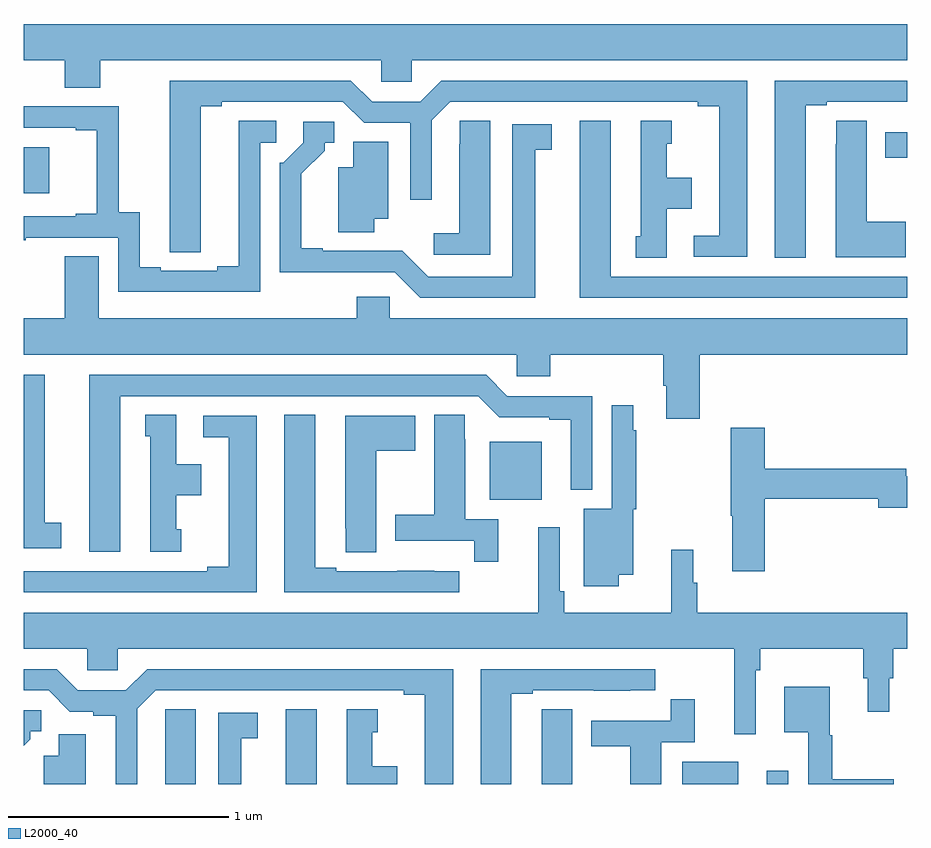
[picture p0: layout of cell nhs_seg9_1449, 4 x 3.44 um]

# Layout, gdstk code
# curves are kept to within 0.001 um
import gdstk
lib = gdstk.Library(unit=1e-6, precision=1e-09)
def R(c, l, rs):  # rectangles x0, y0, x1, y1
    for r in rs: c.add(gdstk.rectangle(r[:2], r[2:], *l))
def P(c, l, *ps):  # polygons
    for p in ps: c.add(gdstk.Polygon(p, *l))
L2000_40 = (2000, 40)

nhs_seg9_1449 = lib.new_cell('nhs_seg9_1449')
R(nhs_seg9_1449, L2000_40, [(194.186,1170.5,194.326,1170.838), (195.98,1170.5,196.234,1170.601), (196.364,1170.5,196.461,1170.559), (195.11,1171.787,195.346,1172.05), (193,1173.173,193.117,1173.382), (196.901,1173.334,197,1173.45)])
P(nhs_seg9_1449, L2000_40, [(193.347,1173.776),(194.619,1173.776),(194.619,1173.678),(194.757,1173.678),(194.757,1173.776),(197,1173.776),(197,1173.94),(193,1173.94),(193,1173.776),(193.187,1173.776),(193.187,1173.652),(193.347,1173.652)],
  [(196.276,1173.684),(194.891,1173.684),(194.795,1173.588),(194.577,1173.588),(194.481,1173.684),(193.661,1173.684),(193.662,1172.908),(193.801,1172.908),(193.801,1173.568),(193.897,1173.568),(193.897,1173.588),(194.445,1173.588),(194.541,1173.492),(194.751,1173.492),(194.751,1173.144),(194.847,1173.144),(194.847,1173.504),(194.931,1173.588),(196.052,1173.588),(196.052,1173.568),(196.148,1173.568),(196.148,1172.982),(196.032,1172.982),(196.032,1172.886),(196.276,1172.886)],
  [(196.54,1173.573),(196.636,1173.573),(196.636,1173.588),(196.912,1173.588),(196.912,1173.587),(197,1173.587),(197,1173.684),(196.4,1173.684),(196.4,1172.881),(196.54,1172.881)],
  [(194.07,1173.402),(194.143,1173.402),(194.143,1173.503),(193.973,1173.503),(193.973,1172.843),(193.877,1172.843),(193.877,1172.823),(193.621,1172.823),(193.621,1172.838),(193.525,1172.838),(193.525,1173.089),(193.431,1173.089),(193.431,1173.567),(193,1173.567),(193,1173.471),(193.235,1173.471),(193.235,1173.459),(193.331,1173.459),(193.331,1173.082),(193.235,1173.082),(193.235,1173.069),(193,1173.069),(193,1172.961),(193.009,1172.961),(193.009,1172.973),(193.428,1172.973),(193.428,1172.727),(194.07,1172.727)],
  [(196.993,1173.045),(196.816,1173.045),(196.816,1173.503),(196.677,1173.503),(196.677,1173.395),(196.676,1173.395),(196.676,1172.885),(196.993,1172.885)],
  [(195.112,1173.503),(194.973,1173.503),(194.973,1173.395),(194.972,1173.395),(194.972,1172.992),(194.856,1172.992),(194.856,1172.895),(195.112,1172.895)],
  [(197,1172.796),(195.658,1172.796),(195.658,1173.502),(195.518,1173.502),(195.518,1172.7),(197,1172.7)],
  [(195.91,1173.104),(196.024,1173.104),(196.024,1173.244),(195.91,1173.244),(195.91,1173.399),(195.934,1173.399),(195.934,1173.502),(195.794,1173.502),(195.794,1172.979),(195.77,1172.979),(195.77,1172.881),(195.91,1172.881)],
  [(195.316,1173.37),(195.391,1173.37),(195.391,1173.486),(195.212,1173.486),(195.212,1172.796),(194.832,1172.796),(194.714,1172.914),(194.353,1172.913),(194.353,1172.926),(194.257,1172.926),(194.257,1173.262),(194.362,1173.367),(194.362,1173.402),(194.407,1173.402),(194.407,1173.498),(194.265,1173.498),(194.265,1173.402),(194.175,1173.312),(194.16,1173.312),(194.16,1172.816),(194.679,1172.817),(194.796,1172.7),(195.316,1172.7)],
  [(194.587,1173.059),(194.65,1173.059),(194.65,1173.407),(194.492,1173.407),(194.492,1173.292),(194.423,1173.292),(194.423,1172.998),(194.587,1172.998)],
  [(196.061,1172.444),(197,1172.444),(197,1172.608),(194.658,1172.608),(194.658,1172.706),(194.507,1172.706),(194.507,1172.608),(193.339,1172.608),(193.339,1172.888),(193.187,1172.888),(193.187,1172.608),(193,1172.608),(193,1172.444),(195.231,1172.444),(195.231,1172.346),(195.383,1172.346),(195.383,1172.444),(195.896,1172.444),(195.896,1172.302),(195.908,1172.302),(195.908,1172.154),(196.061,1172.154)],
  [(193.438,1172.256),(195.057,1172.256),(195.153,1172.16),(195.38,1172.16),(195.38,1172.148),(195.476,1172.148),(195.476,1171.832),(195.573,1171.832),(195.573,1172.256),(195.189,1172.256),(195.093,1172.352),(193.298,1172.352),(193.298,1171.551),(193.438,1171.551)],
  [(193.171,1171.682),(193.096,1171.682),(193.096,1172.352),(193,1172.352),(193,1171.566),(193.171,1171.566)],
  [(195.694,1171.448),(195.76,1171.448),(195.76,1171.743),(195.772,1171.743),(195.772,1172.102),(195.76,1172.102),(195.76,1172.215),(195.663,1172.215),(195.663,1171.747),(195.536,1171.747),(195.536,1171.395),(195.694,1171.395)],
  [(195.149,1171.698),(194.998,1171.698),(194.998,1172.06),(194.997,1172.06),(194.997,1172.171),(194.858,1172.171),(194.858,1171.719),(194.681,1171.719),(194.681,1171.602),(195.04,1171.602),(195.04,1171.506),(195.149,1171.506)],
  [(194.971,1171.464),(194.858,1171.464),(194.858,1171.465),(194.692,1171.465),(194.692,1171.464),(194.416,1171.464),(194.416,1171.479),(194.32,1171.479),(194.32,1172.171),(194.18,1172.171),(194.18,1171.368),(194.971,1171.368)],
  [(193.714,1171.653),(193.69,1171.653),(193.69,1171.808),(193.804,1171.808),(193.804,1171.948),(193.69,1171.948),(193.69,1172.171),(193.55,1172.171),(193.55,1172.073),(193.574,1172.073),(193.574,1171.551),(193.714,1171.551)],
  [(194.596,1172.008),(194.773,1172.008),(194.773,1172.167),(194.456,1172.167),(194.456,1171.657),(194.457,1171.657),(194.457,1171.549),(194.596,1171.549)],
  [(194.056,1172.166),(193.812,1172.166),(193.812,1172.07),(193.928,1172.07),(193.928,1171.484),(193.832,1171.484),(193.832,1171.464),(193,1171.464),(193,1171.368),(194.056,1171.368)],
  [(196.355,1171.792),(196.868,1171.792),(196.868,1171.75),(197,1171.75),(197,1171.892),(196.996,1171.892),(196.996,1171.928),(196.355,1171.928),(196.355,1172.113),(196.201,1172.113),(196.201,1171.715),(196.208,1171.715),(196.208,1171.464),(196.355,1171.464)],
  [(196.314,1171.016),(196.334,1171.016),(196.334,1171.112),(196.801,1171.112),(196.801,1170.978),(196.82,1170.978),(196.82,1170.828),(196.918,1170.828),(196.918,1170.978),(196.937,1170.978),(196.937,1171.112),(197,1171.112),(197,1171.276),(196.049,1171.276),(196.049,1171.41),(196.03,1171.41),(196.03,1171.561),(195.931,1171.561),(195.931,1171.276),(195.446,1171.276),(195.446,1171.372),(195.426,1171.372),(195.426,1171.663),(195.329,1171.663),(195.329,1171.276),(193,1171.276),(193,1171.112),(193.287,1171.112),(193.287,1171.014),(193.425,1171.014),(193.425,1171.112),(196.217,1171.112),(196.217,1170.726),(196.314,1170.726)],
  [(195.208,1170.909),(195.304,1170.909),(195.304,1170.924),(195.58,1170.924),(195.58,1170.923),(195.746,1170.923),(195.746,1170.924),(195.859,1170.924),(195.859,1171.02),(195.068,1171.02),(195.068,1170.5),(195.208,1170.5)],
  [(193.515,1170.84),(193.599,1170.924),(194.72,1170.924),(194.72,1170.904),(194.816,1170.904),(194.816,1170.5),(194.944,1170.5),(194.944,1171.02),(193.559,1171.02),(193.463,1170.924),(193.245,1170.924),(193.149,1171.02),(193,1171.02),(193,1170.924),(193.113,1170.924),(193.209,1170.828),(193.314,1170.828),(193.314,1170.808),(193.418,1170.808),(193.418,1170.5),(193.515,1170.5)],
  [(196.939,1170.521),(196.66,1170.521),(196.66,1170.72),(196.648,1170.72),(196.648,1170.94),(196.442,1170.94),(196.442,1170.734),(196.551,1170.734),(196.551,1170.5),(196.939,1170.5)],
  [(195.886,1170.69),(196.037,1170.69),(196.037,1170.883),(195.928,1170.883),(195.928,1170.786),(195.569,1170.786),(195.569,1170.67),(195.746,1170.67),(195.746,1170.5),(195.886,1170.5)],
  [(195.484,1170.839),(195.345,1170.839),(195.345,1170.731),(195.344,1170.731),(195.344,1170.5),(195.484,1170.5)],
  [(193.78,1170.839),(193.641,1170.839),(193.641,1170.731),(193.64,1170.731),(193.64,1170.5),(193.78,1170.5)],
  [(194.692,1170.58),(194.578,1170.58),(194.578,1170.735),(194.602,1170.735),(194.602,1170.838),(194.462,1170.838),(194.462,1170.5),(194.692,1170.5)],
  [(193.03,1170.703),(193.03,1170.738),(193.08,1170.738),(193.08,1170.834),(193,1170.834),(193,1170.673)],
  [(193.984,1170.706),(194.059,1170.706),(194.059,1170.822),(193.88,1170.822),(193.88,1170.5),(193.984,1170.5)],
  [(193.282,1170.726),(193.16,1170.726),(193.16,1170.628),(193.091,1170.628),(193.091,1170.5),(193.282,1170.5)])

lib.write_gds('nhs_seg9_1449.gds')
